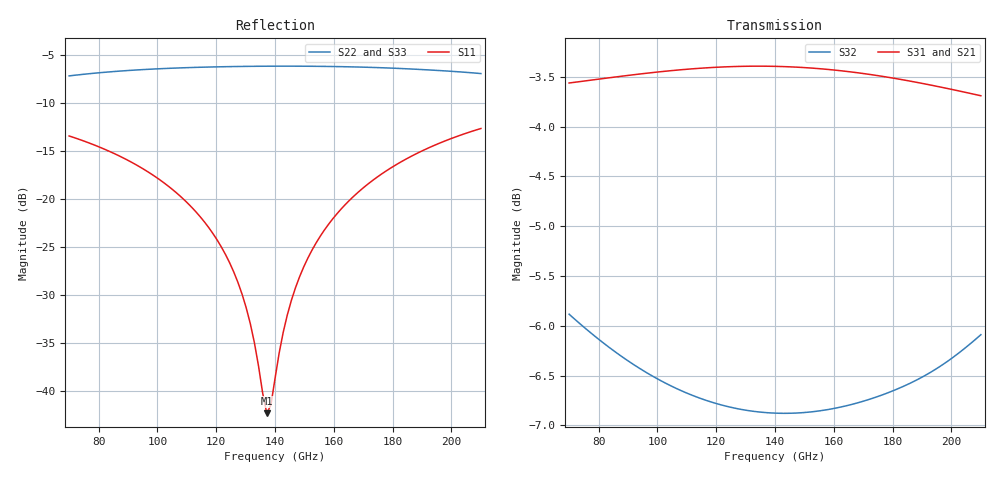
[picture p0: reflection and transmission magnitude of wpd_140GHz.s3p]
#  GHZ S DB R 50
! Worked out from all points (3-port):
!   101 points, 70 GHz to 210 GHz, reference 50 ohm
!   strongest paths, dB at 70 GHz, 105 GHz, 140 GHz, 175 GHz, 210 GHz:
!     S31: -3.6, -3.4, -3.4, -3.5, -3.7
!     S21: -3.6, -3.4, -3.4, -3.5, -3.7
!     S32: -5.9, -6.6, -6.9, -6.7, -6.1
!   lowest |S11| = -42.3 dB at 137.2 GHz (marker M1), VSWR 1.02, Z = 50.8 + j0.117 ohm
!   |S11| at or under -10 dB: start of sweep to end of sweep
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70  -13.46 132.6  -3.57 -44.2  -3.56 -44.2
    -3.57 -44.2  -7.21 50.4  -5.88 -97.7
    -3.56 -44.2  -5.88 -97.7  -7.23 50.4
98  -17.43 112.9  -3.47 -62.5  -3.46 -62.5
    -3.47 -62.5  -6.51 25.3  -6.50 -131.1
    -3.46 -62.5  -6.50 -131.1  -6.53 25.3
117.6  -23.05 96.8  -3.42 -75.6  -3.41 -75.7
       -3.42 -75.6  -6.29 10.8  -6.76 -153.8
       -3.41 -75.7  -6.76 -153.8  -6.31 10.7
128.8  -29.92 81.6  -3.40 -83.2  -3.40 -83.2
       -3.40 -83.2  -6.23 3.1  -6.84 -166.6
       -3.40 -83.2  -6.84 -166.6  -6.25 3.0
137.2  -42.31 8.7  -3.40 -88.9  -3.39 -88.9
       -3.40 -88.9  -6.21 -2.5  -6.87 -176.1
       -3.39 -88.9  -6.87 -176.1  -6.22 -2.6
140  -38.71 -51.5  -3.40 -90.8  -3.40 -90.8
     -3.40 -90.8  -6.20 -4.3  -6.88 -179.3
     -3.40 -90.8  -6.88 -179.3  -6.22 -4.4
147  -29.22 -84.4  -3.41 -95.6  -3.40 -95.6
     -3.41 -95.6  -6.20 -9.0  -6.88 172.7
     -3.40 -95.6  -6.88 172.7  -6.22 -9.1
159.6  -22.10 -100.1  -3.44 -104.1  -3.43 -104.1
       -3.44 -104.1  -6.24 -17.4  -6.83 158.2
       -3.43 -104.1  -6.83 158.2  -6.26 -17.5
180.6  -16.56 -116.8  -3.53 -118.2  -3.52 -118.3
       -3.53 -118.2  -6.42 -32.2  -6.65 133.9
       -3.52 -118.3  -6.65 133.9  -6.44 -32.3
210  -12.69 -137.2  -3.70 -137.6  -3.69 -137.7
     -3.70 -137.6  -6.97 -56.4  -6.09 99.0
     -3.69 -137.7  -6.09 99.0  -6.99 -56.5
